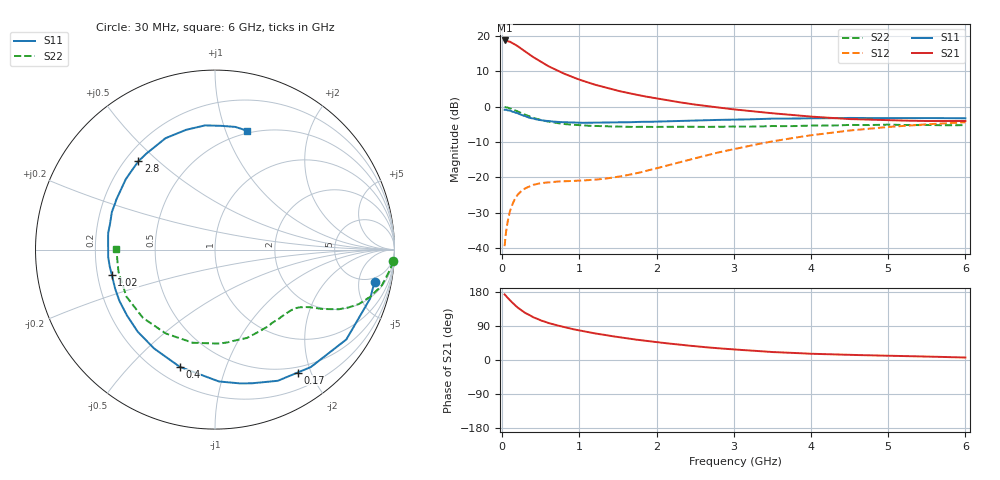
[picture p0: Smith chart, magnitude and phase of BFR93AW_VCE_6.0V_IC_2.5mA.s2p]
! Infineon Technologies  Discrete & RF Semiconductors
! BFR93AW
! VCE =  6.0 V,  IC =  2.5 mA
! Common Emitter S-Parameters:  Nov 2015
# GHz  S  MA  R  50
!  f  S11  S21  S12  S22
! GHz  MAG  ANG  MAG  ANG  MAG  ANG  MAG  ANG
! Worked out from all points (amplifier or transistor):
!   206 points, 30 MHz to 6 GHz, reference 50 ohm
!   highest |S21| = 18.7 dB at 30 MHz (marker M1)
!   |S21| within 3 dB of that: start of sweep to 289.4 MHz
!   unconditionally stable (mu >= 1): 1.163 GHz to 2.263 GHz
!   at 200 MHz: K = 0.19, MSG = 21.0 dB, |S12| = -24.8 dB
!   at 1.56 GHz: K = 1.14, MAG = 9.6 dB, |S12| = -19.6 dB
!   at 6 GHz: K = 0.97, MSG = 0.2 dB, |S12| = -4.4 dB
!   S11 on the Smith chart (normalised r, x): 30 MHz: 3.94, -8.02; 170 MHz: 0.42, -1.80; 400 MHz: 0.29, -0.70; 1.02 GHz: 0.26, -0.11; 2.8 GHz: 0.25, +0.43; 6 GHz: 0.48, +1.19
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0.03  0.9069 -11.5  8.634 173.1  0.0107 81.1  0.9933 -3.8
0.05  0.9064 -17.5  8.573 168.3  0.0174 80.1  0.9838 -6.3
0.1  0.8866 -34.4  8.282 157.4  0.0335 71.4  0.9517 -12.0
0.15  0.8445 -50.8  7.745 147.0  0.0467 63.5  0.9055 -16.8
0.17  0.8253 -56.1  7.492 143.7  0.0509 60.8  0.8858 -18.3
0.2  0.8104 -64.4  7.164 138.3  0.0573 57.4  0.8575 -20.7
0.26  0.7587 -79.3  6.435 129.2  0.0658 51.2  0.7998 -24.0
0.3  0.735 -88.3  6.002 123.8  0.0704 48.0  0.7664 -25.7
0.4  0.682 -106.7  5.031 112.9  0.0787 42.1  0.6973 -28.4
0.5  0.647 -121.6  4.31 104.4  0.0833 38.6  0.6471 -30.2
0.6  0.6282 -133.3  3.725 97.5  0.0853 37.1  0.6138 -31.5
0.8  0.6044 -151.8  2.934 86.6  0.0884 36.9  0.5694 -34.4
1.02  0.5922 -166.3  2.371 77.1  0.0904 40.0  0.5465 -37.6
1.04  0.5923 -167.4  2.332 76.3  0.0907 40.5  0.5447 -38.1
1.2  0.5966 -176.1  2.048 70.2  0.093 44.6  0.5347 -41.1
1.5  0.6024 171.0  1.678 60.5  0.1019 53.4  0.5247 -47.5
2.02  0.6167 152.4  1.296 46.5  0.1366 65.7  0.5186 -60.5
2.8  0.6515 130.9  0.975 30.9  0.2259 70.4  0.5215 -81.9
3.1  0.6595 123.2  0.894 26.5  0.2653 68.5  0.5227 -90.5
4.1  0.6867 101.8  0.714 16.0  0.4077 56.9  0.5405 -123.7
5.1  0.6902 85.7  0.641 10.8  0.5261 41.6  0.5543 -155.0
6  0.6859 74.7  0.628 6.5  0.6036 28.7  0.5499 179.6
